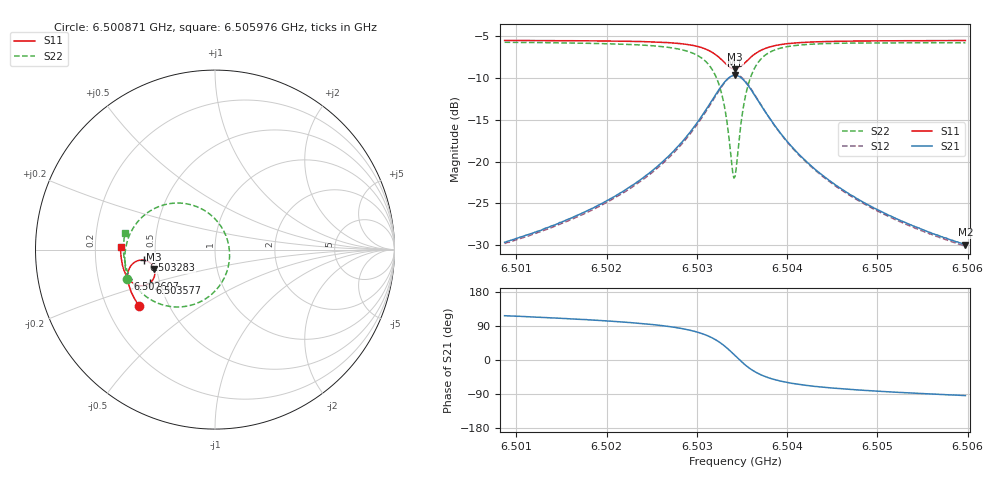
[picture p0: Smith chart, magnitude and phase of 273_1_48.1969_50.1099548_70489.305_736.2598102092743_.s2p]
#  HZ  S  RI  R  50.00
! Rohde & Schwarz Vector Network Analyzer
! Rohde-Schwarz,ZNB20-2Port,1311601062101988,3.16
! Created: UTC 3/20/2024, 11:48:14 AM
! freq[Hz]  re:S11  im:S11  re:S21  im:S21  re:S12  im:S12  re:S22  im:S22
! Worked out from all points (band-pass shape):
!   401 points, 6.500871 GHz to 6.505976 GHz, reference 50 ohm
!   highest |S21| = -9.73 dB at 6.503424 GHz (marker M1); lowest = -29.9 dB at 6.505976 GHz (marker M2)
!   |S21| within 3 dB of the highest: 6.503168 GHz to 6.503679 GHz (510.4 kHz wide, 0.00785 % of centre)
!   lowest |S11| = -9.0 dB at 6.503424 GHz (marker M3), VSWR 2.10, Z = 24.2 - j6.01 ohm
!   |S11| at or under -10 dB: nowhere
!   |S22| runs from -22.0 to -5.8 dB; largest |S21 - S12| = 0.011
!   S11 on the Smith chart (normalised r, x): 6.500871 GHz: 0.34, -0.30; 6.502607 GHz: 0.33, -0.15; 6.503283 GHz: 0.43, -0.06; 6.503577 GHz: 0.44, -0.20; 6.505976 GHz: 0.31, +0.01
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6.5008709e9  -0.4226 -0.3143  -0.0149 0.0294  -0.0132 0.0296  -0.4877 -0.1613
6.501726e9  -0.4599 -0.2516  -0.0144 0.0469  -0.012 0.0466  -0.5021 -0.0718
6.5021855e9  -0.4763 -0.2115  -0.0117 0.0654  -0.00874 0.0643  -0.4998 -0.00765
6.5025812e9  -0.4861 -0.1686  -0.00263 0.0953  0.000798 0.0931  -0.4808 0.0694
6.5026067e9  -0.4864 -0.1652  -0.00159 0.098  0.00198 0.0956  -0.4784 0.0758
6.5028492e9  -0.4851 -0.1295  0.0177 0.1321  0.0215 0.128  -0.4377 0.1464
6.5030279e9  -0.4724 -0.0959  0.055 0.1688  0.0579 0.1633  -0.365 0.2131
6.5031811e9  -0.439 -0.0655  0.1286 0.199  0.1299 0.1927  -0.2296 0.2586
6.5032832e9  -0.3963 -0.0588  0.2141 0.1898  0.2144 0.1847  -0.0811 0.2302
6.5033343e9  -0.3709 -0.0675  0.2623 0.1619  0.2631 0.1573  -0.000973 0.1726
6.5033981e9  -0.3444 -0.0939  0.3096 0.0983  0.3121 0.0933  0.0702 0.0502
6.5034236e9  -0.3381 -0.1084  0.3195 0.0663  0.3227 0.0604  0.0806 -0.00947
6.5034491e9  -0.3351 -0.124  0.3231 0.0328  0.3264 0.0259  0.0784 -0.0704
6.503513e9  -0.3423 -0.1609  0.3051 -0.0445  0.3069 -0.0544  0.0229 -0.2045
6.5035768e9  -0.3634 -0.1865  0.2623 -0.098  0.2613 -0.1092  -0.073 -0.2862
6.5036789e9  -0.4026 -0.2015  0.1882 -0.1337  0.1829 -0.143  -0.2218 -0.3196
6.5038448e9  -0.4483 -0.1918  0.1075 -0.1307  0.1005 -0.1357  -0.3673 -0.273
6.5040235e9  -0.4756 -0.1703  0.0633 -0.1108  0.0572 -0.1129  -0.4388 -0.2085
6.5042788e9  -0.4963 -0.1403  0.0335 -0.0867  0.0289 -0.0873  -0.4818 -0.1367
6.5046617e9  -0.5117 -0.1008  0.0148 -0.0637  0.0115 -0.0635  -0.504 -0.0621
6.505134e9  -0.5211 -0.0573  0.0048 -0.0474  0.00269 -0.0466  -0.51 0.0035
6.5059764e9  -0.5259 0.0139  -0.0022 -0.0318  -0.00342 -0.0311  -0.5018 0.0917
